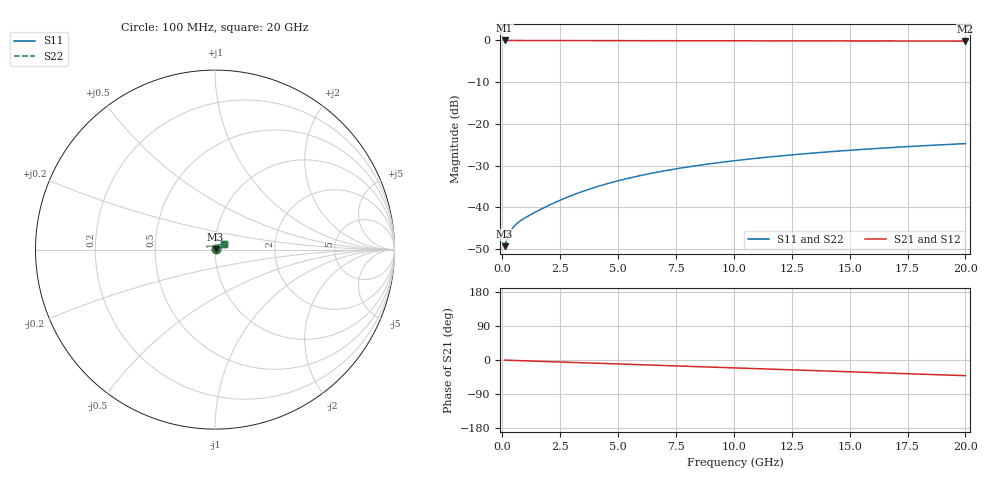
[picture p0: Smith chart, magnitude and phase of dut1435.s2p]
! Touchstone file exported from HFSS 2026.1.0
!  File:  C:/ffzhzh/LocalFiles/Ansys_Project_Files/temp_train_TMRDL_1435_1783166943_55132.aedt
!  Generated:  08:10:09 PM Jul  4, 2026
!  Design:  TMRDL
!  Project:  temp_train_TMRDL_1435_1783166943_55132
! Variables:
!  h_bsmrdl = 2um
!  h_ox = 20um
!  h_rdl = 5um
!  h_sub = 80um
!  h_tmrdl = 3.04um
!  h_tsv = 80um
!  h_via = 3um
!  l_bsmrdl = 300um
!  l_sub = 1123.49um
!  l_tmrdl = 723.49um
!  m_sub = 200um
!  pitch = 34.65um
!  r_tsv = 6um
!  s_tmrdl = 10um
!  w_bsmrdl = 18um
!  w_sub = 500um
!  w_tmrdl = 29.06um
!  x_tsv_center1 = 738.02um
!  x_tsv_center2 = 1056.02um
!  x_tsv_center3 = 1808.57um
!  x_tsv_center4 = 2126.57um
!  x_tsv_center5 = 2879.12um
!  x_tsv_center6 = 3197.12um
# GHz S MA R 50.000000
! Terminal data exported
! Port[1] = TM_RDL1_1_T1
! Port[2] = TM_RDL1_1_T2
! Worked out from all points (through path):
!   200 points, 100 MHz to 20 GHz, reference 50 ohm
!   highest |S21| = -0.03 dB at 100 MHz (marker M1); lowest = -0.2 dB at 20 GHz (marker M2)
!   group delay of S21, straight-line fit = 5.72 ps
!   lowest |S11| = -49.3 dB at 100 MHz (marker M3), VSWR 1.01, Z = 50.3 + j0.103 ohm
!   |S11| at or under -10 dB: start of sweep to end of sweep
!   |S22| runs from -49.3 to -24.7 dB; largest |S21 - S12| = 4e-15
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0.1  0.003433 17.4  0.9967 -0.2  0.9967 -0.2  0.003433 17.4
! Gamma 0 0 0 0
! Port Impedance 50 0 50 0
0.2  0.004111 27.1  0.9964 -0.5  0.9964 -0.5  0.004111 27.1
0.3  0.004812 31.3  0.9959 -0.7  0.9959 -0.7  0.004812 31.3
0.4  0.005407 33.1  0.9955 -0.9  0.9955 -0.9  0.005408 33.1
0.5  0.005891 34.2  0.9952 -1.1  0.9952 -1.1  0.005893 34.2
0.6  0.006294 35.2  0.9949 -1.3  0.9949 -1.3  0.006296 35.2
0.8  0.006959 37.2  0.9946 -1.8  0.9946 -1.8  0.006962 37.2
1  0.007546 39.5  0.9944 -2.2  0.9944 -2.2  0.007548 39.5
1.3  0.008405 42.9  0.9941 -2.8  0.9941 -2.8  0.008408 42.9
2.1  0.01087 50.1  0.9937 -4.5  0.9937 -4.5  0.01087 50.1
2.8  0.01322 53.7  0.9933 -6.0  0.9933 -6.0  0.01322 53.7
3.5  0.01564 55.6  0.9928 -7.4  0.9928 -7.4  0.01564 55.6
4.2  0.01807 56.4  0.9923 -8.9  0.9923 -8.9  0.01808 56.4
5  0.02082 56.4  0.9916 -10.6  0.9916 -10.6  0.02083 56.4
5.9  0.02384 55.8  0.9908 -12.4  0.9908 -12.4  0.02385 55.7
6.8  0.02674 54.8  0.99 -14.3  0.99 -14.3  0.02676 54.7
8.3  0.03133 52.5  0.9886 -17.4  0.9886 -17.4  0.03134 52.4
10.1  0.03641 49.5  0.987 -21.1  0.987 -21.1  0.03643 49.3
11.7  0.04057 46.6  0.9857 -24.4  0.9857 -24.4  0.0406 46.5
13.4  0.04468 43.6  0.9843 -27.9  0.9843 -27.9  0.04472 43.4
16.7  0.05182 37.6  0.9819 -34.6  0.9819 -34.6  0.05188 37.4
20  0.05798 31.7  0.9799 -41.3  0.9799 -41.3  0.05806 31.4
